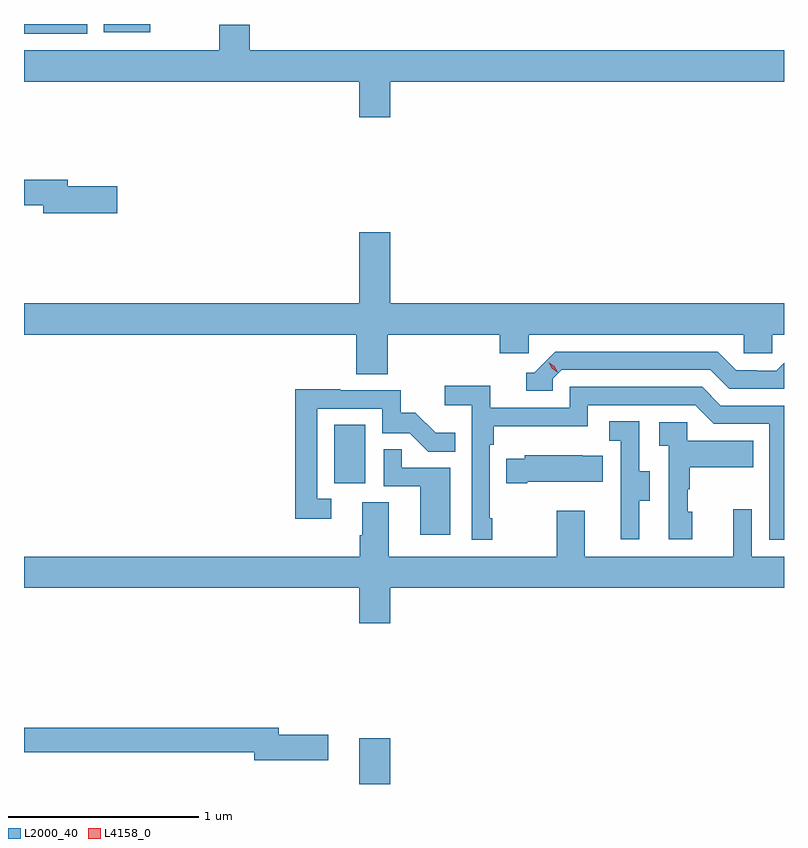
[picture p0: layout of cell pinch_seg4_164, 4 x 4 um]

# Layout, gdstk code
import gdstk
lib = gdstk.Library(unit=1e-6, precision=1e-09)
def R(c, l, rs):  # rectangles x0, y0, x1, y1
    for r in rs: c.add(gdstk.rectangle(r[:2], r[2:], *l))
def P(c, l, *ps):  # polygons
    for p in ps: c.add(gdstk.Polygon(p, *l))
L2000_40 = (2000, 40)
L4158_0 = (4158, 0)

pinch_seg4_164 = lib.new_cell('pinch_seg4_164')
R(pinch_seg4_164, L2000_40, [(1142.03,789.127,1142.194,789.367), (1141.898,790.71,1142.062,791.017), (1140.266,793.077,1140.6,793.127), (1140.685,793.083,1140.931,793.127)])
P(pinch_seg4_164, L2000_40, [(1142.194,792.824),(1144.266,792.824),(1144.266,792.988),(1141.454,792.988),(1141.454,793.123),(1141.294,793.123),(1141.294,792.988),(1140.266,792.988),(1140.266,792.824),(1142.03,792.824),(1142.03,792.636),(1142.194,792.636)],
  [(1140.757,792.272),(1140.496,792.272),(1140.496,792.308),(1140.266,792.308),(1140.266,792.172),(1140.368,792.172),(1140.368,792.13),(1140.757,792.13)],
  [(1142.18,791.492),(1142.771,791.492),(1142.771,791.394),(1142.922,791.394),(1142.922,791.492),(1144.053,791.492),(1144.053,791.394),(1144.203,791.394),(1144.203,791.492),(1144.266,791.492),(1144.266,791.656),(1142.194,791.656),(1142.194,792.031),(1142.03,792.031),(1142.03,791.656),(1140.266,791.656),(1140.266,791.492),(1142.015,791.492),(1142.015,791.284),(1142.18,791.284)],
  [(1143.048,791.259),(1143.096,791.307),(1143.879,791.307),(1143.978,791.208),(1144.266,791.208),(1144.266,791.343),(1144.225,791.301),(1144.122,791.301),(1144.122,791.304),(1144.015,791.304),(1143.916,791.403),(1143.063,791.403),(1142.952,791.292),(1142.909,791.292),(1142.909,791.196),(1143.048,791.196)],
  [(1142.731,790.525),(1142.718,790.525),(1142.718,790.913),(1142.738,790.913),(1142.738,791.009),(1143.234,791.009),(1143.234,791.121),(1143.798,791.121),(1143.897,791.022),(1144.188,791.022),(1144.188,790.413),(1144.266,790.413),(1144.266,791.118),(1143.934,791.118),(1143.835,791.217),(1143.138,791.217),(1143.138,791.106),(1142.72,791.106),(1142.72,791.222),(1142.481,791.222),(1142.481,791.12),(1142.622,791.12),(1142.622,790.413),(1142.731,790.413)],
  [(1141.882,790.629),(1141.809,790.629),(1141.809,791.103),(1142.151,791.103),(1142.151,790.974),(1142.295,790.974),(1142.393,790.876),(1142.537,790.876),(1142.537,790.975),(1142.433,790.975),(1142.326,791.082),(1142.25,791.082),(1142.25,791.199),(1141.931,791.199),(1141.931,791.204),(1141.693,791.204),(1141.693,790.524),(1141.882,790.524)],
  [(1143.505,790.618),(1143.559,790.618),(1143.559,790.773),(1143.504,790.773),(1143.504,791.036),(1143.345,791.036),(1143.345,790.933),(1143.408,790.933),(1143.408,790.629),(1143.407,790.629),(1143.407,790.416),(1143.505,790.416)],
  [(1143.784,790.56),(1143.759,790.56),(1143.759,790.679),(1143.769,790.679),(1143.769,790.793),(1144.103,790.793),(1144.103,790.933),(1143.756,790.933),(1143.756,791.031),(1143.609,791.031),(1143.609,790.907),(1143.66,790.907),(1143.66,790.416),(1143.784,790.416)],
  [(1142.509,790.791),(1142.255,790.791),(1142.255,790.889),(1142.16,790.889),(1142.16,790.695),(1142.351,790.695),(1142.351,790.44),(1142.509,790.44)],
  [(1142.914,790.718),(1143.311,790.718),(1143.311,790.855),(1143.203,790.855),(1143.203,790.858),(1142.901,790.858),(1142.901,790.84),(1142.803,790.84),(1142.803,790.711),(1142.914,790.711)],
  [(1142.194,790.16),(1144.266,790.16),(1144.266,790.324),(1144.095,790.324),(1144.095,790.573),(1143.998,790.573),(1143.998,790.324),(1143.217,790.324),(1143.217,790.564),(1143.07,790.564),(1143.07,790.324),(1142.185,790.324),(1142.185,790.61),(1142.045,790.61),(1142.045,790.436),(1142.033,790.436),(1142.033,790.324),(1140.266,790.324),(1140.266,790.16),(1142.03,790.16),(1142.03,789.972),(1142.194,789.972)],
  [(1141.867,789.386),(1141.606,789.386),(1141.606,789.422),(1140.266,789.422),(1140.266,789.294),(1141.478,789.294),(1141.478,789.251),(1141.867,789.251)])
P(pinch_seg4_164, L4158_0, [(1143.073,791.295),(1143.043,791.314),(1143.027,791.347),(1143.027,791.347),(1143.028,791.347),(1143.058,791.327),(1143.074,791.295),(1143.074,791.295)])

lib.write_gds('pinch_seg4_164.gds')
